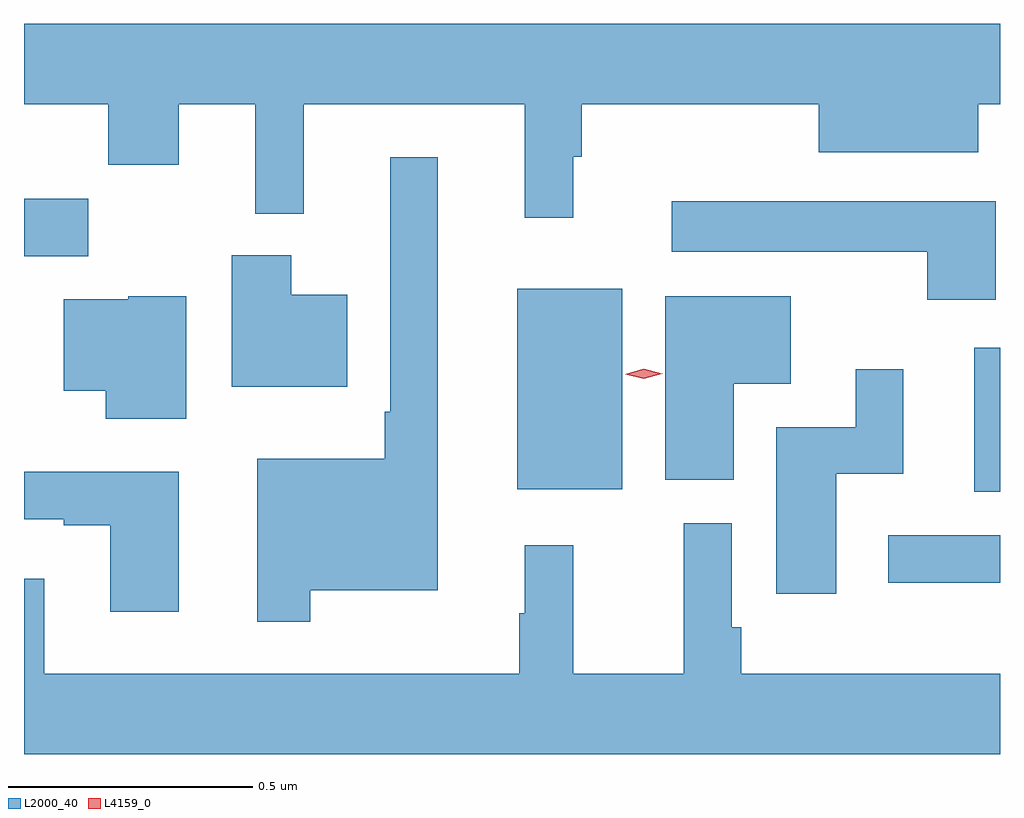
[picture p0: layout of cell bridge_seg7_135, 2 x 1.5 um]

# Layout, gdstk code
import gdstk
lib = gdstk.Library(unit=1e-6, precision=1e-09)
def R(c, l, rs):  # rectangles x0, y0, x1, y1
    for r in rs: c.add(gdstk.rectangle(r[:2], r[2:], *l))
def P(c, l, *ps):  # polygons
    for p in ps: c.add(gdstk.Polygon(p, *l))
L2000_40 = (2000, 40)
L4159_0 = (4159, 0)

bridge_seg7_135 = lib.new_cell('bridge_seg7_135')
R(bridge_seg7_135, L2000_40, [(865.113,1002.299,865.342,1002.396), (865.289,1002.485,865.342,1002.781), (864.353,1002.491,864.568,1002.901), (863.342,1002.968,863.474,1003.086)])
P(bridge_seg7_135, L2000_40, [(864.467,1003.172),(864.485,1003.172),(864.485,1003.28),(864.971,1003.28),(864.971,1003.181),(865.297,1003.181),(865.297,1003.28),(865.342,1003.28),(865.342,1003.444),(863.342,1003.444),(863.342,1003.28),(863.515,1003.28),(863.515,1003.156),(863.659,1003.156),(863.659,1003.28),(863.816,1003.28),(863.816,1003.055),(863.915,1003.055),(863.915,1003.28),(864.368,1003.28),(864.368,1003.047),(864.467,1003.047)],
  [(863.929,1002.284),(864.19,1002.284),(864.19,1003.171),(864.093,1003.171),(864.093,1002.649),(864.081,1002.649),(864.081,1002.553),(863.82,1002.553),(863.82,1002.219),(863.929,1002.219)],
  [(865.333,1003.081),(864.669,1003.081),(864.669,1002.977),(865.193,1002.977),(865.193,1002.879),(865.333,1002.879)],
  [(864.004,1002.889),(863.89,1002.889),(863.89,1002.97),(863.768,1002.97),(863.768,1002.701),(864.004,1002.701)],
  [(864.796,1002.707),(864.913,1002.707),(864.913,1002.886),(864.656,1002.886),(864.656,1002.51),(864.796,1002.51)],
  [(863.674,1002.886),(863.556,1002.886),(863.556,1002.88),(863.423,1002.88),(863.423,1002.692),(863.51,1002.692),(863.51,1002.635),(863.674,1002.635)],
  [(865.006,1002.522),(865.144,1002.522),(865.144,1002.736),(865.046,1002.736),(865.046,1002.618),(864.884,1002.618),(864.884,1002.276),(865.006,1002.276)],
  [(863.659,1002.526),(863.342,1002.526),(863.342,1002.429),(863.423,1002.429),(863.423,1002.417),(863.519,1002.417),(863.519,1002.24),(863.659,1002.24)],
  [(865.342,1002.112),(864.812,1002.112),(864.812,1002.208),(864.792,1002.208),(864.792,1002.421),(864.694,1002.421),(864.694,1002.112),(864.468,1002.112),(864.468,1002.376),(864.368,1002.376),(864.368,1002.236),(864.357,1002.236),(864.357,1002.112),(863.383,1002.112),(863.383,1002.307),(863.342,1002.307),(863.342,1001.948),(865.342,1001.948)])
P(bridge_seg7_135, L4159_0, [(864.612,1002.717),(864.574,1002.726),(864.574,1002.726),(864.574,1002.726),(864.612,1002.737),(864.65,1002.727),(864.651,1002.727),(864.65,1002.727)])

lib.write_gds('bridge_seg7_135.gds')
